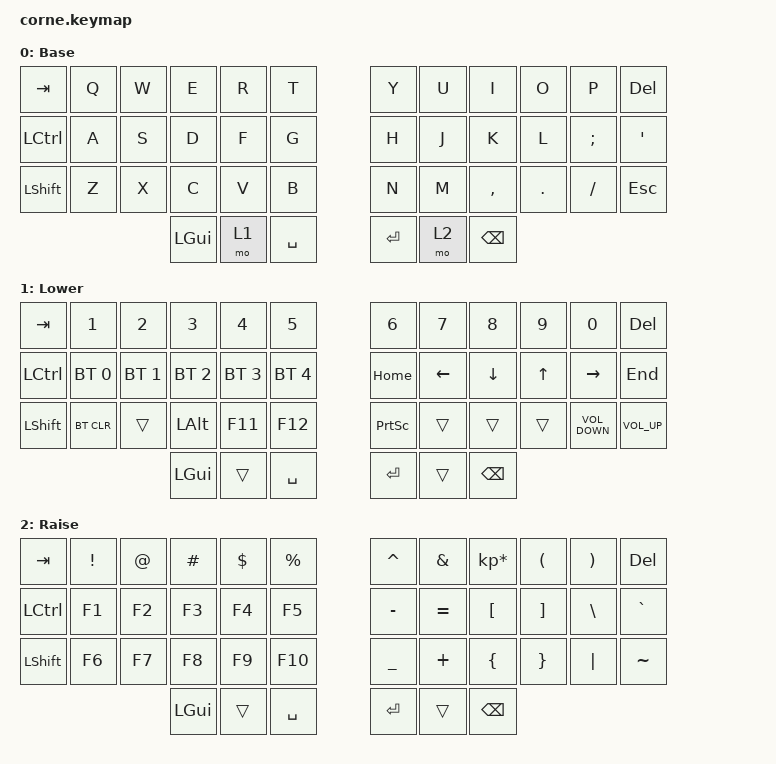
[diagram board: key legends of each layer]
/*
 * Copyright (c) 2020 The ZMK Contributors
 *
 * SPDX-License-Identifier: MIT
 */

#include <behaviors.dtsi>
#include <dt-bindings/zmk/bt.h>
#include <dt-bindings/zmk/keys.h>

/ {
    keymap {
        compatible = "zmk,keymap";

        default_layer {
            // -----------------------------------------------------------------------------------------
            // |  TAB |  Q  |  W  |  E  |  R  |  T  |   |  Y  |  U   |  I  |  O  |  P  | BKSP |
            // | CTRL |  A  |  S  |  D  |  F  |  G  |   |  H  |  J   |  K  |  L  |  ;  |  '   |
            // | SHFT |  Z  |  X  |  C  |  V  |  B  |   |  N  |  M   |  ,  |  .  |  /  | ESC  |
            //                    | GUI | LWR | SPC |   | ENT | RSE  | ALT |

            label = "Base";
            bindings = <
&kp TAB    &kp Q  &kp W  &kp E     &kp R  &kp T        &kp Y    &kp U  &kp I      &kp O    &kp P     &kp DEL
&kp LCTRL  &kp A  &kp S  &kp D     &kp F  &kp G        &kp H    &kp J  &kp K      &kp L    &kp SEMI  &kp SQT
&kp LSHFT  &kp Z  &kp X  &kp C     &kp V  &kp B        &kp N    &kp M  &kp COMMA  &kp DOT  &kp FSLH  &kp ESC
                         &kp LGUI  &mo 1  &kp SPACE    &kp RET  &mo 2  &kp BSPC
            >;
        };

        lower_layer {
            // -----------------------------------------------------------------------------------------
            // |  TAB |  1  |  2  |  3  |  4  |  5  |   |  6  |  7  |  8  |  9  |  0  | BKSP |
            // | BTCLR| BT1 | BT2 | BT3 | BT4 | BT5 |   | LFT | DWN |  UP | RGT |     |      |
            // | SHFT |     |     |     |     |     |   |     |     |     |     |     |      |
            //                    | GUI |     | SPC |   | ENT |     | ALT |

            label = "Lower";
            bindings = <
&kp TAB    &kp N1        &kp N2        &kp N3        &kp N4        &kp N5          &kp N6           &kp N7    &kp N8         &kp N9  &kp N0             &kp DELETE
&kp LCTRL  &bt BT_SEL 0  &bt BT_SEL 1  &bt BT_SEL 2  &bt BT_SEL 3  &bt BT_SEL 4    &kp HOME         &kp LEFT  &kp DOWN       &kp UP  &kp RIGHT          &kp END
&kp LSHFT  &bt BT_CLR    &trans        &kp LEFT_ALT  &kp F11       &kp F12         &kp PRINTSCREEN  &trans    &trans         &trans  &kp C_VOLUME_DOWN  &kp C_VOLUME_UP
                                       &kp LGUI      &trans        &kp SPACE       &kp RET          &trans    &kp BACKSPACE
            >;
        };

        raise_layer {
            // -----------------------------------------------------------------------------------------
            // |  TAB |  !  |  @  |  #  |  $  |  %  |   |  ^  |  &  |  *  |  (  |  )  | BKSP |
            // | CTRL |     |     |     |     |     |   |  -  |  =  |  [  |  ]  |  \  |  `   |
            // | SHFT |     |     |     |     |     |   |  _  |  +  |  {  |  }  | "|" |  ~   |
            //                    | GUI |     | SPC |   | ENT |     | ALT |

            label = "Raise";
            bindings = <
&kp TAB    &kp EXCL  &kp AT  &kp HASH  &kp DLLR  &kp PRCNT    &kp CARET  &kp AMPS   &kp KP_MULTIPLY  &kp LPAR  &kp RPAR  &kp DELETE
&kp LCTRL  &kp F1    &kp F2  &kp F3    &kp F4    &kp F5       &kp MINUS  &kp EQUAL  &kp LBKT         &kp RBKT  &kp BSLH  &kp GRAVE
&kp LSHFT  &kp F6    &kp F7  &kp F8    &kp F9    &kp F10      &kp UNDER  &kp PLUS   &kp LBRC         &kp RBRC  &kp PIPE  &kp TILDE
                             &kp LGUI  &trans    &kp SPACE    &kp RET    &trans     &kp BACKSPACE
            >;
        };
    };
};
